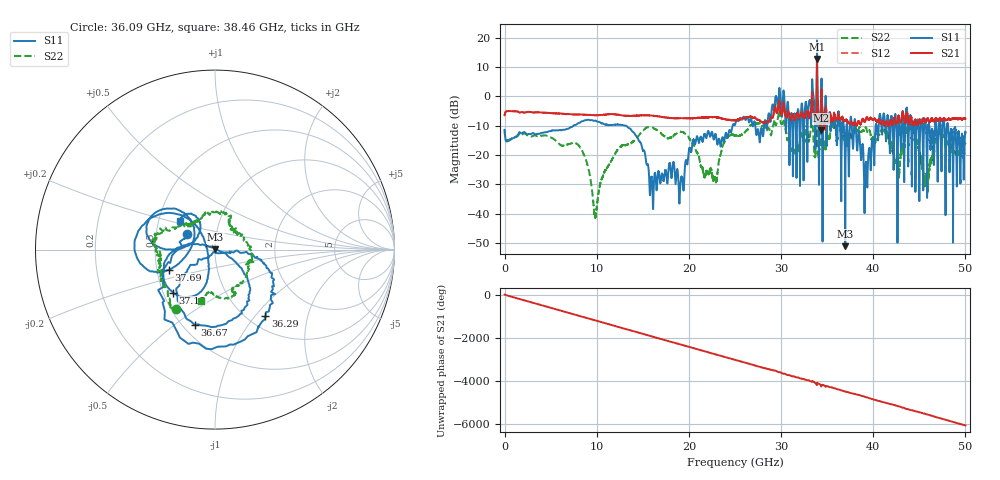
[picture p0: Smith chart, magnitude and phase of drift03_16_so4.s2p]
!Created with skrf (http://scikit-rf.org).
# Hz S RI R 50.0
!freq ReS11 ImS11 ReS21 ImS21 ReS12 ImS12 ReS22 ImS22
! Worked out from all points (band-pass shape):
!   10001 points, 300 kHz to 50 GHz, reference 50 ohm
!   highest |S21| = 12.67 dB at 33.9 GHz (marker M1); lowest = -11.5 dB at 34.32 GHz (marker M2)
!   |S21| within 3 dB of the highest: 33.89002 GHz to 33.90607 GHz (16.06 MHz wide, 0.0474 % of centre)
!   lowest |S11| = -51.0 dB at 36.96 GHz (marker M3), VSWR 1.01, Z = 50.2 + j0.235 ohm
!   |S11| at or under -10 dB: start of sweep to 7.484 GHz; 13.13 GHz to 24.74 GHz (11.61 GHz wide, 61.3 % of centre); 38.09 GHz to 40.26 GHz (2.174 GHz wide, 5.55 % of centre) (the widest 3 of 49)
!   |S22| runs from -41.5 to 4.9 dB; largest |S21 - S12| = 0.31
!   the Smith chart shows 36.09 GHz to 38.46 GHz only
!   S11 on the Smith chart (normalised r, x): 36.09 GHz: 0.72, +0.13; 36.29 GHz: 1.19, -1.14; 36.67 GHz: 0.57, -0.59; 37.15 GHz: 0.56, -0.30; 37.69 GHz: 0.58, -0.14; 38.46 GHz: 0.65, +0.22
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300000  -0.2406 -0.1182  0.4676 0.0782  0.4679 0.0795  -0.2358 -0.127
1.440291e9  0.2099 0.0646  -0.5481 -0.0289  -0.5482 -0.0288  0.211 -0.00429
2.915283e9  -0.2122 -0.0876  0.5342 0.0512  0.5346 0.0511  -0.2026 0.0402
8.33525e9  0.2884 -0.2341  0.1475 0.4655  0.1469 0.4659  -0.0731 -0.1008
9.855241e9  -0.361 0.1346  -0.1578 -0.4485  -0.1583 -0.4487  0.00904 0.00217
1.66702e10  0.0274 0.0443  -0.3767 0.2542  -0.3776 0.2546  -0.1265 -0.2184
2.500015e10  -0.3259 -0.0139  -0.2559 -0.2955  -0.2545 -0.2971  -0.2121 0.0275
2.895513e10  -0.322 0.4323  -0.2863 0.3275  -0.2959 0.2918  0.0663 0.2194
3.006512e10  0.3981 0.2635  0.4482 -0.199  0.451 -0.1843  0.1701 -0.2985
3.171011e10  -0.0909 0.1853  -0.3595 0.3599  -0.3582 0.357  0.0659 0.1581
3.33351e10  0.5807 -0.7861  0.2437 -0.8196  0.2418 -0.8029  -0.1885 -0.4077
3.39001e10  3.361 -8.252  -3.906 -1.804  -3.815 -1.519  -0.621 1.649
3.432009e10  -0.7813 0.00173  -0.1772 0.1972  -0.2395 0.1769  0.1414 -0.07
3.609008e10  -0.1536 0.0859  0.2537 -0.3298  0.2621 -0.3264  -0.2155 -0.3334
3.629008e10  0.2811 -0.3719  0.1453 -0.4038  0.1423 -0.3959  -0.305 -0.1323
3.667008e10  -0.1135 -0.4191  -0.2352 -0.3617  -0.2424 -0.3689  -0.2372 0.1184
3.696008e10  0.00155 0.00234  -0.3714 -0.1127  -0.3689 -0.1132  -0.00481 0.2078
3.714508e10  -0.2342 -0.2401  -0.391 -0.00525  -0.3836 -0.00773  0.0848 0.1303
3.769007e10  -0.2564 -0.1123  -0.1654 0.3067  -0.1691 0.3001  0.1874 -0.1059
3.846007e10  -0.1938 0.1574  0.2919 0.2226  0.3064 0.2293  -0.0777 -0.2841
4.167005e10  -0.1948 0.3009  0.3136 0.00328  0.3134 0.00976  -0.1908 -0.00819
5e10  -0.1275 -0.2061  0.1497 0.3852  0.1491 0.3823  -0.0571 -0.1448
